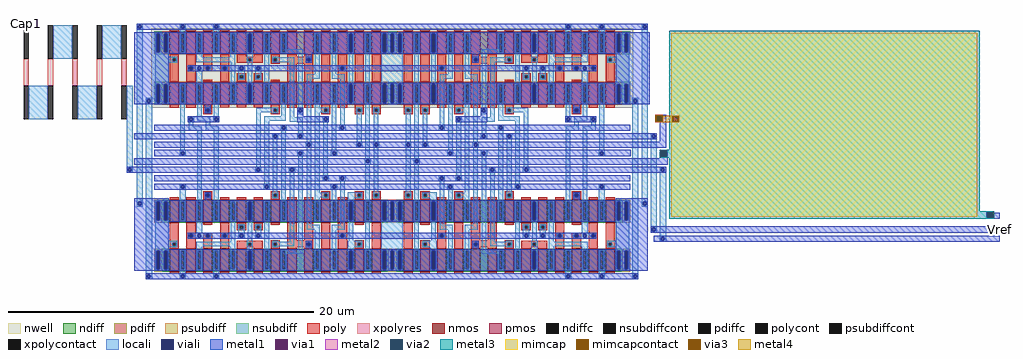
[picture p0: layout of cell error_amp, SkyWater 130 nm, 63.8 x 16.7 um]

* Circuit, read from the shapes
.subckt error_amp Cap1 Vref Vfb Cap2
XM1 vdd gnd gnd gnd sky130_fd_pr__nfet_01v8 w=1.5 l=0.6 m=2
XM2 opamp_0/net7 gnd gnd gnd sky130_fd_pr__nfet_01v8 w=1.5 l=0.6 m=2
XM3 opamp_0/net1 opamp_0/net9 vdd gnd sky130_fd_pr__nfet_01v8 w=1.5 l=0.6 m=3
XM4 opamp_0/net9 opamp_0/net9 opamp_0/net7 gnd sky130_fd_pr__nfet_01v8 w=1.5 l=0.6 m=2
XM5 opamp_0/net10 gnd opamp_0/net9 gnd sky130_fd_pr__nfet_01v8 w=1.5 l=0.6 m=2
XM6 opamp_0/net1 opamp_0/net9 opamp_0/net10 gnd sky130_fd_pr__nfet_01v8 w=1.5 l=0.6
XM7 gnd gnd opamp_0/net1 gnd sky130_fd_pr__nfet_01v8 w=1.5 l=0.6
XM8 gnd opamp_0/net9 opamp_0/net1 gnd sky130_fd_pr__nfet_01v8 w=1.5 l=0.6
XM9 opamp_0/net8 gnd gnd gnd sky130_fd_pr__nfet_01v8 w=1.5 l=0.6
XM10 opamp_0/net8 opamp_0/net9 gnd gnd sky130_fd_pr__nfet_01v8 w=1.5 l=0.6
XM11 opamp_0/net4 Vfb opamp_0/net8 gnd sky130_fd_pr__nfet_01v8 w=1.5 l=0.6
XM12 opamp_0/net3 Vref opamp_0/net8 gnd sky130_fd_pr__nfet_01v8 w=1.5 l=0.6
XM13 opamp_0/net16 gnd opamp_0/net4 gnd sky130_fd_pr__nfet_01v8 w=1.5 l=0.6
XM14 opamp_0/net15 gnd opamp_0/net3 gnd sky130_fd_pr__nfet_01v8 w=1.5 l=0.6
XM15 opamp_0/net2 gnd opamp_0/net16 gnd sky130_fd_pr__nfet_01v8 w=1.5 l=0.6
XM16 opamp_0/net5 gnd opamp_0/net15 gnd sky130_fd_pr__nfet_01v8 w=1.5 l=0.6
XM17 opamp_0/net6 opamp_0/net5 opamp_0/net2 gnd sky130_fd_pr__nfet_01v8 w=1.5 l=0.6
XM18 opamp_0/net7 opamp_0/net5 opamp_0/net5 gnd sky130_fd_pr__nfet_01v8 w=1.5 l=0.6
XM19 gnd opamp_0/net9 opamp_0/net6 gnd sky130_fd_pr__nfet_01v8 w=1.5 l=0.6 m=2
XM20 gnd opamp_0/net9 opamp_0/net7 gnd sky130_fd_pr__nfet_01v8 w=1.5 l=0.6 m=2
XM21 Cap2 gnd gnd gnd sky130_fd_pr__nfet_01v8 w=1.5 l=0.6 m=4
XM22 gnd opamp_0/net2 Cap2 gnd sky130_fd_pr__nfet_01v8 w=1.5 l=0.6 m=4
XM23 opamp_0/net2 n1 opamp_0/net6 gnd sky130_fd_pr__nfet_01v8 w=1.5 l=0.6
XM24 n1 n1 opamp_0/net7 gnd sky130_fd_pr__nfet_01v8 w=1.5 l=0.6
XM25 n2 gnd opamp_0/net2 gnd sky130_fd_pr__nfet_01v8 w=1.5 l=0.6
XM26 n3 gnd n1 gnd sky130_fd_pr__nfet_01v8 w=1.5 l=0.6
XM27 opamp_0/net4 gnd n2 gnd sky130_fd_pr__nfet_01v8 w=1.5 l=0.6
XM28 opamp_0/net3 gnd n3 gnd sky130_fd_pr__nfet_01v8 w=1.5 l=0.6
XM29 n4 Vfb opamp_0/net4 gnd sky130_fd_pr__nfet_01v8 w=1.5 l=0.6
XM30 n4 Vref opamp_0/net3 gnd sky130_fd_pr__nfet_01v8 w=1.5 l=0.6
XM31 gnd gnd n4 gnd sky130_fd_pr__nfet_01v8 w=1.5 l=0.6
XM32 gnd opamp_0/net9 n4 gnd sky130_fd_pr__nfet_01v8 w=1.5 l=0.6
XM33 n5 gnd gnd gnd sky130_fd_pr__nfet_01v8 w=1.5 l=0.6
XM34 n5 opamp_0/net9 gnd gnd sky130_fd_pr__nfet_01v8 w=1.5 l=0.6
XM35 vdd opamp_0/net9 n5 gnd sky130_fd_pr__nfet_01v8 w=1.5 l=0.6 m=3
XM36 opamp_0/net10 opamp_0/net9 n5 gnd sky130_fd_pr__nfet_01v8 w=1.5 l=0.6
XM37 opamp_0/net4 vdd vdd vdd sky130_fd_pr__pfet_01v8 w=1.5 l=0.6 m=2
XM38 gnd vdd vdd vdd sky130_fd_pr__pfet_01v8 w=1.5 l=0.6 m=2
XM39 opamp_0/net10 opamp_0/net10 opamp_0/net4 vdd sky130_fd_pr__pfet_01v8 w=1.5 l=0.6 m=2
XM40 opamp_0/net12 opamp_0/net10 gnd vdd sky130_fd_pr__pfet_01v8 w=1.5 l=0.6 m=3
XM41 opamp_0/net9 vdd opamp_0/net10 vdd sky130_fd_pr__pfet_01v8 w=1.5 l=0.6 m=2
XM42 opamp_0/net12 opamp_0/net10 opamp_0/net9 vdd sky130_fd_pr__pfet_01v8 w=1.5 l=0.6
XM43 vdd opamp_0/net10 opamp_0/net12 vdd sky130_fd_pr__pfet_01v8 w=1.5 l=0.6
XM44 vdd vdd opamp_0/net12 vdd sky130_fd_pr__pfet_01v8 w=1.5 l=0.6
XM45 opamp_0/net11 opamp_0/net10 vdd vdd sky130_fd_pr__pfet_01v8 w=1.5 l=0.6
XM46 opamp_0/net11 vdd vdd vdd sky130_fd_pr__pfet_01v8 w=1.5 l=0.6
XM47 opamp_0/net7 Vfb opamp_0/net11 vdd sky130_fd_pr__pfet_01v8 w=1.5 l=0.6
XM48 opamp_0/net6 Vref opamp_0/net11 vdd sky130_fd_pr__pfet_01v8 w=1.5 l=0.6
XM49 opamp_0/net14 vdd opamp_0/net7 vdd sky130_fd_pr__pfet_01v8 w=1.5 l=0.6
XM50 opamp_0/net13 vdd opamp_0/net6 vdd sky130_fd_pr__pfet_01v8 w=1.5 l=0.6
XM51 opamp_0/net5 vdd opamp_0/net14 vdd sky130_fd_pr__pfet_01v8 w=1.5 l=0.6
XM52 opamp_0/net2 vdd opamp_0/net13 vdd sky130_fd_pr__pfet_01v8 w=1.5 l=0.6
XM53 opamp_0/net4 opamp_0/net5 opamp_0/net5 vdd sky130_fd_pr__pfet_01v8 w=1.5 l=0.6
XM54 opamp_0/net3 opamp_0/net5 opamp_0/net2 vdd sky130_fd_pr__pfet_01v8 w=1.5 l=0.6
XM55 vdd opamp_0/net10 opamp_0/net4 vdd sky130_fd_pr__pfet_01v8 w=1.5 l=0.6 m=2
XM56 vdd opamp_0/net10 opamp_0/net3 vdd sky130_fd_pr__pfet_01v8 w=1.5 l=0.6 m=2
XM57 Cap2 opamp_0/net2 vdd vdd sky130_fd_pr__pfet_01v8 w=1.5 l=0.6 m=8
XM58 n1 n1 opamp_0/net4 vdd sky130_fd_pr__pfet_01v8 w=1.5 l=0.6
XM59 opamp_0/net2 n1 opamp_0/net3 vdd sky130_fd_pr__pfet_01v8 w=1.5 l=0.6
XM60 n6 vdd n1 vdd sky130_fd_pr__pfet_01v8 w=1.5 l=0.6
XM61 opamp_0/net22 vdd opamp_0/net2 vdd sky130_fd_pr__pfet_01v8 w=1.5 l=0.6
XM62 opamp_0/net7 vdd n6 vdd sky130_fd_pr__pfet_01v8 w=1.5 l=0.6
XM63 opamp_0/net6 vdd opamp_0/net22 vdd sky130_fd_pr__pfet_01v8 w=1.5 l=0.6
XM64 n7 Vfb opamp_0/net7 vdd sky130_fd_pr__pfet_01v8 w=1.5 l=0.6
XM65 n7 Vref opamp_0/net6 vdd sky130_fd_pr__pfet_01v8 w=1.5 l=0.6
XM66 vdd opamp_0/net10 n7 vdd sky130_fd_pr__pfet_01v8 w=1.5 l=0.6
XM67 vdd vdd n7 vdd sky130_fd_pr__pfet_01v8 w=1.5 l=0.6
XM68 n8 opamp_0/net10 vdd vdd sky130_fd_pr__pfet_01v8 w=1.5 l=0.6
XM69 n8 vdd vdd vdd sky130_fd_pr__pfet_01v8 w=1.5 l=0.6
XM70 opamp_0/net9 opamp_0/net10 n8 vdd sky130_fd_pr__pfet_01v8 w=1.5 l=0.6
XM71 gnd opamp_0/net10 n8 vdd sky130_fd_pr__pfet_01v8 w=1.5 l=0.6 m=3
XC72 opamp_0/net2 Cap2 sky130_fd_pr__cap_mim_m3_1 w=20 l=12
XR73 Cap1 n9 gnd sky130_fd_pr__res_xhigh_po w=0.35 l=1.75
XR74 n10 n9 gnd sky130_fd_pr__res_xhigh_po w=0.35 l=1.75
XR75 n10 n11 gnd sky130_fd_pr__res_xhigh_po w=0.35 l=1.75
XR76 n12 n11 gnd sky130_fd_pr__res_xhigh_po w=0.35 l=1.75
XR77 n12 Vfb gnd sky130_fd_pr__res_xhigh_po w=0.35 l=1.75
.ends

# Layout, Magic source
magic
tech sky130A
<< locali >>
rect -725 1660 -690 1670
rect -50 725 -10 1265
rect -50 705 -40 725
rect -20 705 -10 725
rect -50 695 -10 705
<< viali >>
rect -40 705 -20 725
<< metal1 >>
rect -50 725 30 735
rect -50 705 -40 725
rect -20 705 30 725
rect -50 695 30 705
rect 5640 395 5655 435
rect 5640 305 5655 345
rect 5640 245 5655 285
use 50k_res  50k_res_0
transform -1 0 -55 0 -1 1655
box -5 -5 670 610
use opamp  opamp_0
transform 1 0 230 0 1 -30
box -230 30 5425 1700
<< labels >>
rlabel metal1 5655 325 5655 325 3 Vref
port 2 e
rlabel metal1 5640 245 5655 285 3 Vfb
port 3 e
rlabel metal1 5655 415 5655 415 3 Cap2
port 4 e
rlabel locali -705 1670 -705 1670 1 Cap1
port 1 n
<< end >>

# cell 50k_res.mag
magic
tech sky130A
<< xpolycontact >>
rect -5 390 30 610
rect -5 -5 30 215
rect 155 390 190 610
rect 155 -5 190 215
rect 315 390 350 610
rect 315 -5 350 215
rect 475 390 510 610
rect 475 -5 510 215
rect 635 390 670 610
rect 635 -5 670 215
<< xpolyres >>
rect -5 215 30 390
rect 155 215 190 390
rect 315 215 350 390
rect 475 215 510 390
rect 635 215 670 390
<< locali >>
rect 190 390 315 610
rect 510 390 635 610
rect 30 -5 155 215
rect 350 -5 475 215
<< end >>

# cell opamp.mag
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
